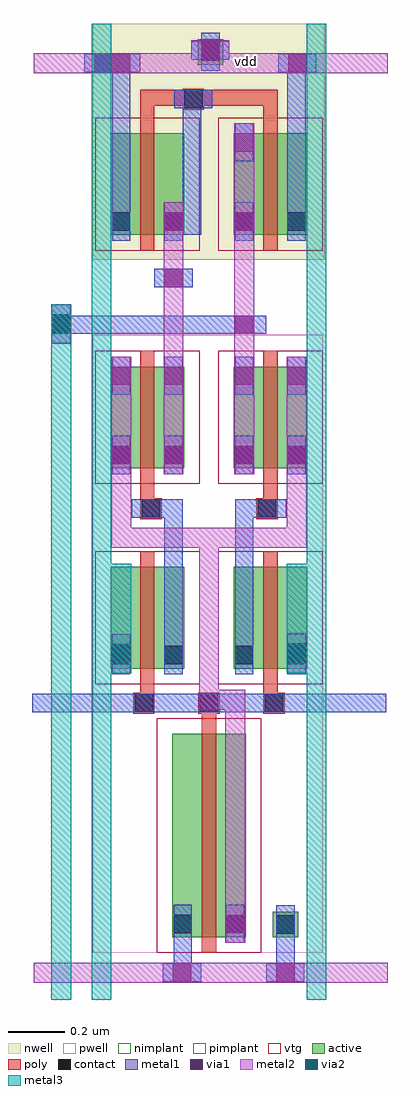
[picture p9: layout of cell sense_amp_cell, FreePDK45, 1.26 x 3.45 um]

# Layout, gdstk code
from math import pi, radians
import gdstk
lib = gdstk.Library(unit=1e-6, precision=5e-10)
def R(c, l, rs):  # rectangles x0, y0, x1, y1
    for r in rs: c.add(gdstk.rectangle(r[:2], r[2:], *l))
active = (1, 0)
pwell = (2, 0)
nwell = (3, 0)
nimplant = (4, 0)
pimplant = (5, 0)
vtg = (6, 0)
poly = (9, 0)
contact = (10, 0)
metal1 = (11, 0)
via1 = (12, 0)
metal2 = (13, 0)
via2 = (14, 0)
metal3 = (15, 0)

dcont_28 = lib.new_cell('dcont_28')
R(dcont_28, active, [(-0.0375,0.03,0.0375,0.105)])
R(dcont_28, contact, [(-0.0325,0.035,0.0325,0.1)])
R(dcont_28, metal1, [(-0.0325,0,0.0325,0.135)])

nmos_vtg_18 = lib.new_cell('nmos_vtg_18')
R(nmos_vtg_18, active, [(-0.105,0,0.155,0.72), (-0.105,0,-0.03,0.72), (0.08,0,0.155,0.72), (-0.105,0.01,-0.03,0.085), (0.08,0.01,0.155,0.085)])
R(nmos_vtg_18, pwell, [(-0.16,-0.055,0.21,0.775)])
R(nmos_vtg_18, nimplant, [(-0.105,0,0.155,0.72)])
R(nmos_vtg_18, vtg, [(-0.16,-0.055,0.21,0.775)])
R(nmos_vtg_18, poly, [(0,-0.055,0.05,0), (0,-0.055,0.05,0.775), (0,0.72,0.05,0.775)])
nmos_vtg_18.add(gdstk.Reference(dcont_28, (0.1175,-0.02)))
nmos_vtg_18.add(gdstk.Reference(dcont_28, (-0.0675,-0.02)))
nmos_vtg_18.add(gdstk.Label('l = 0.05', (0.06,0.36), layer=239, texttype=0))
nmos_vtg_18.add(gdstk.Label('w = 0.72', (0.025,0.785), layer=239, texttype=0))

m3_m2_viab = lib.new_cell('M3_M2_viaB')
R(m3_m2_viab, metal2, [(-0.035,-0.07,0.035,0.07)])
R(m3_m2_viab, via2, [(-0.035,-0.035,0.035,0.035)])
R(m3_m2_viab, metal3, [(-0.035,-0.07,0.035,0.07)])

m2_m1_viab = lib.new_cell('M2_M1_viaB')
R(m2_m1_viab, metal1, [(-0.0675,-0.0325,0.0675,0.0325)])
R(m2_m1_viab, via1, [(-0.0325,-0.0325,0.0325,0.0325)])
R(m2_m1_viab, metal2, [(-0.0675,-0.035,0.0675,0.035)])

nmos_vtg_13 = lib.new_cell('nmos_vtg_13')
R(nmos_vtg_13, active, [(-0.105,0,0.155,0.36), (-0.105,0,-0.03,0.36), (0.08,0,0.155,0.36), (-0.105,0.01,-0.03,0.085), (0.08,0.01,0.155,0.085)])
R(nmos_vtg_13, pwell, [(-0.16,-0.055,0.21,0.415)])
R(nmos_vtg_13, nimplant, [(-0.105,0,0.155,0.36)])
R(nmos_vtg_13, vtg, [(-0.16,-0.055,0.21,0.415)])
R(nmos_vtg_13, poly, [(0,-0.055,0.05,0), (0,-0.055,0.05,0.415), (0,0.36,0.05,0.415)])
nmos_vtg_13.add(gdstk.Reference(dcont_28, (0.1175,-0.02)))
nmos_vtg_13.add(gdstk.Reference(dcont_28, (-0.0675,-0.02)))
nmos_vtg_13.add(gdstk.Label('l = 0.05', (0.06,0.18), layer=239, texttype=0))
nmos_vtg_13.add(gdstk.Label('w = 0.36', (0.025,0.425), layer=239, texttype=0))

m2_m1_viac = lib.new_cell('M2_M1_viaC')
R(m2_m1_viac, metal1, [(-0.0325,-0.0675,0.0325,0.0675)])
R(m2_m1_viac, via1, [(-0.0325,-0.0325,0.0325,0.0325)])
R(m2_m1_viac, metal2, [(-0.035,-0.0675,0.035,0.0675)])

pmos_vtg_19 = lib.new_cell('pmos_vtg_19')
R(pmos_vtg_19, active, [(-0.105,0,0.155,0.36), (-0.105,0,-0.03,0.36), (0.08,0,0.155,0.36), (-0.105,0.01,-0.03,0.085), (0.08,0.01,0.155,0.085)])
R(pmos_vtg_19, nwell, [(-0.16,-0.055,0.21,0.415)])
R(pmos_vtg_19, pimplant, [(-0.105,0,0.155,0.36)])
R(pmos_vtg_19, vtg, [(-0.16,-0.055,0.21,0.415)])
R(pmos_vtg_19, poly, [(0,-0.055,0.05,0), (0,-0.055,0.05,0.415), (0,0.36,0.05,0.415)])
pmos_vtg_19.add(gdstk.Reference(dcont_28, (0.1175,-0.02)))
pmos_vtg_19.add(gdstk.Reference(dcont_28, (-0.0675,-0.02)))
pmos_vtg_19.add(gdstk.Label('l = 0.05', (0.06,0.18), layer=239, texttype=0))
pmos_vtg_19.add(gdstk.Label('w = 0.36', (0.025,0.425), layer=239, texttype=0))

m2_m1_via = lib.new_cell('M2_M1_via')
R(m2_m1_via, metal1, [(-0.0675,-0.0325,0.0675,0.0325)])
R(m2_m1_via, via1, [(-0.0325,-0.0325,0.0325,0.0325)])
R(m2_m1_via, metal2, [(-0.035,-0.0675,0.035,0.0675)])

nmos_vtg_20 = lib.new_cell('nmos_vtg_20')
R(nmos_vtg_20, active, [(-0.105,0,0.155,0.36), (-0.105,0,-0.03,0.36), (0.08,0,0.155,0.36), (-0.105,0.01,-0.03,0.085), (0.08,0.01,0.155,0.085)])
R(nmos_vtg_20, pwell, [(-0.16,-0.055,0.21,0.415)])
R(nmos_vtg_20, nimplant, [(-0.105,0,0.155,0.36)])
R(nmos_vtg_20, vtg, [(-0.16,-0.055,0.21,0.415)])
R(nmos_vtg_20, poly, [(0,-0.055,0.05,0), (0,-0.055,0.05,0.415), (0,0.36,0.05,0.415)])
nmos_vtg_20.add(gdstk.Reference(dcont_28, (0.1175,-0.02)))
nmos_vtg_20.add(gdstk.Reference(dcont_28, (-0.0675,-0.02)))
nmos_vtg_20.add(gdstk.Label('l = 0.05', (0.06,0.18), layer=239, texttype=0))
nmos_vtg_20.add(gdstk.Label('w = 0.36', (0.025,0.425), layer=239, texttype=0))

pcont_0 = lib.new_cell('pcont_0')
R(pcont_0, poly, [(-0.0375,-0.0375,0.0375,0.0375)])
R(pcont_0, contact, [(-0.0325,-0.0325,0.0325,0.0325)])
R(pcont_0, metal1, [(-0.0325,-0.0675,0.0325,0.0675)])

m2_m1_4 = lib.new_cell('M2_M1_4')
R(m2_m1_4, metal1, [(-0.0325,-0.0675,0.0325,0.0675)])
R(m2_m1_4, via1, [(-0.0325,-0.0325,0.0325,0.0325)])
R(m2_m1_4, metal2, [(-0.035,-0.0675,0.035,0.0675)])

ntap_0 = lib.new_cell('NTAP_0')
R(ntap_0, active, [(-0.045,-0.045,0.045,0.045)])
R(ntap_0, nwell, [(-0.1,-0.1,0.1,0.1)])
R(ntap_0, nimplant, [(-0.045,-0.045,0.045,0.045)])
R(ntap_0, contact, [(-0.0325,-0.0325,0.0325,0.0325)])
R(ntap_0, metal1, [(-0.0325,-0.0675,0.0325,0.0675)])

ptap_1 = lib.new_cell('PTAP_1')
R(ptap_1, active, [(-0.045,-0.045,0.045,0.045)])
R(ptap_1, pwell, [(-0.1,-0.1,0.1,0.1)])
R(ptap_1, pimplant, [(-0.045,-0.045,0.045,0.045)])
R(ptap_1, contact, [(-0.0325,-0.0325,0.0325,0.0325)])
R(ptap_1, metal1, [(-0.0325,-0.0675,0.0325,0.0675)])

sense_amp_cell = lib.new_cell('sense_amp_cell')
R(sense_amp_cell, pwell, [(0.21,0.07,1.0225,2.255)])
R(sense_amp_cell, nwell, [(0.21,2.52,1.03,3.355)])
R(sense_amp_cell, poly, [(0.595,0.8975,0.645,0.94), (0.3775,0.9875,0.4275,1.03), (0.8125,0.9875,0.8625,1.03), (0.3775,1.6775,0.4275,1.7275), (0.8125,1.6775,0.8625,1.7275), (0.3775,3.0125,0.4275,3.12), (0.8125,3.0125,0.8625,3.12), (0.3775,3.065,0.8625,3.12)])
R(sense_amp_cell, metal1, [(0.495,-0.035,0.56,0.1625), (0.8575,-0.035,0.9225,0.1625), (0.445,0.92,0.79,0.985), (0.4625,1.165,0.5275,1.6725), (0.7125,1.165,0.7775,1.6725), (0.0625,2.2575,0.8225,2.3225), (0.5275,2.6075,0.5925,3.065), (0.8975,2.7025,0.9625,3.245), (0.2775,2.705,0.3425,3.2475)])
R(sense_amp_cell, metal2, [(0,-0.035,1.2525,0.035), (0.6775,0.105,0.7475,1), (0.585,0.93,0.7475,1), (0.585,0.935,0.655,1.5025), (0.275,1.5025,0.965,1.5725), (0.275,1.5725,0.345,2.1775), (0.895,1.5725,0.965,2.1775), (0.46,1.7625,0.53,2.3925), (0.71,1.7625,0.78,2.2575), (0.71,2.2525,0.78,3.0025), (0.46,2.3925,0.53,2.7075), (0,3.18,1.2525,3.25)])
R(sense_amp_cell, metal3, [(0.0625,-0.095,0.1325,2.3225), (0.205,-0.095,0.275,3.355), (0.965,-0.095,1.035,3.355), (0.275,1.085,0.345,1.445), (0.895,1.085,0.965,1.445)])
sense_amp_cell.add(gdstk.FlexPath([(1.2475,0.9525),(-0.005,0.9525)], 0.065, ends="flush", simple_path=True, layer=11, datatype=0))  # metal1
sense_amp_cell.add(gdstk.Reference(nmos_vtg_18, (0.595,0.125)))
sense_amp_cell.add(gdstk.Reference(m3_m2_viab, (0.0975,2.2925)))
sense_amp_cell.add(gdstk.Reference(m3_m2_viab, (0.31,1.1275)))
sense_amp_cell.add(gdstk.Reference(m3_m2_viab, (0.93,1.13)))
sense_amp_cell.add(gdstk.Reference(m2_m1_viab, (0.89,0)))
sense_amp_cell.add(gdstk.Reference(m2_m1_viab, (0.2475,3.215)))
sense_amp_cell.add(gdstk.Reference(m2_m1_viab, (0.525,0)))
sense_amp_cell.add(gdstk.Reference(m2_m1_viab, (0.9325,3.215)))
sense_amp_cell.add(gdstk.Reference(m2_m1_viab, (0.31,3.215)))
sense_amp_cell.add(gdstk.Reference(nmos_vtg_13, (0.3775,1.075)))
sense_amp_cell.add(gdstk.Reference(nmos_vtg_13, (0.8125,1.075)))
sense_amp_cell.add(gdstk.Reference(m2_m1_viac, (0.7125,0.1725)))
sense_amp_cell.add(gdstk.Reference(m2_m1_viac, (0.625,3.26), rotation=pi/2))
sense_amp_cell.add(gdstk.Reference(m2_m1_viac, (0.31,1.83)))
sense_amp_cell.add(gdstk.Reference(m2_m1_viac, (0.93,1.83)))
sense_amp_cell.add(gdstk.Reference(m2_m1_viac, (0.93,2.11)))
sense_amp_cell.add(gdstk.Reference(pmos_vtg_19, (0.8125,2.6075)))
sense_amp_cell.add(gdstk.Reference(pmos_vtg_19, (0.3775,2.6075)))
sense_amp_cell.add(gdstk.Reference(m2_m1_via, (0.495,2.455)))
sense_amp_cell.add(gdstk.Reference(m2_m1_via, (0.745,2.29)))
sense_amp_cell.add(gdstk.Reference(nmos_vtg_20, (0.8125,1.7825)))
sense_amp_cell.add(gdstk.Reference(nmos_vtg_20, (0.3775,1.7825)))
sense_amp_cell.add(gdstk.Reference(pcont_0, (0.565,3.0875), rotation=pi/2))
sense_amp_cell.add(gdstk.Reference(pcont_0, (0.415,1.64), rotation=pi/2))
sense_amp_cell.add(gdstk.Reference(pcont_0, (0.39,0.9525), rotation=pi/2))
sense_amp_cell.add(gdstk.Reference(pcont_0, (0.85,0.9525), rotation=pi/2))
sense_amp_cell.add(gdstk.Reference(pcont_0, (0.825,1.64), rotation=pi/2))
sense_amp_cell.add(gdstk.Reference(pcont_0, (0.62,0.9525), rotation=pi/2))
sense_amp_cell.add(gdstk.Reference(m2_m1_4, (0.31,2.11)))
sense_amp_cell.add(gdstk.Reference(m2_m1_4, (0.0975,2.2925)))
sense_amp_cell.add(gdstk.Reference(m2_m1_4, (0.745,2.11)))
sense_amp_cell.add(gdstk.Reference(m2_m1_4, (0.495,2.11)))
sense_amp_cell.add(gdstk.Reference(m2_m1_4, (0.495,2.655)))
sense_amp_cell.add(gdstk.Reference(m2_m1_4, (0.745,2.655)))
sense_amp_cell.add(gdstk.Reference(m2_m1_4, (0.745,2.935)))
sense_amp_cell.add(gdstk.Reference(m2_m1_4, (0.745,1.83)))
sense_amp_cell.add(gdstk.Reference(m2_m1_4, (0.495,1.83)))
sense_amp_cell.add(gdstk.Reference(m2_m1_viac, (0.93,1.13)))
sense_amp_cell.add(gdstk.Reference(m2_m1_viac, (0.31,1.13)))
sense_amp_cell.add(gdstk.Reference(ntap_0, (0.625,3.255)))
sense_amp_cell.add(gdstk.Reference(ptap_1, (0.89,0.17)))
sense_amp_cell.add(gdstk.Label('vdd', (0.7525,3.22), layer=13, texttype=0))

lib.write_gds('sense_amp_cell.gds')
